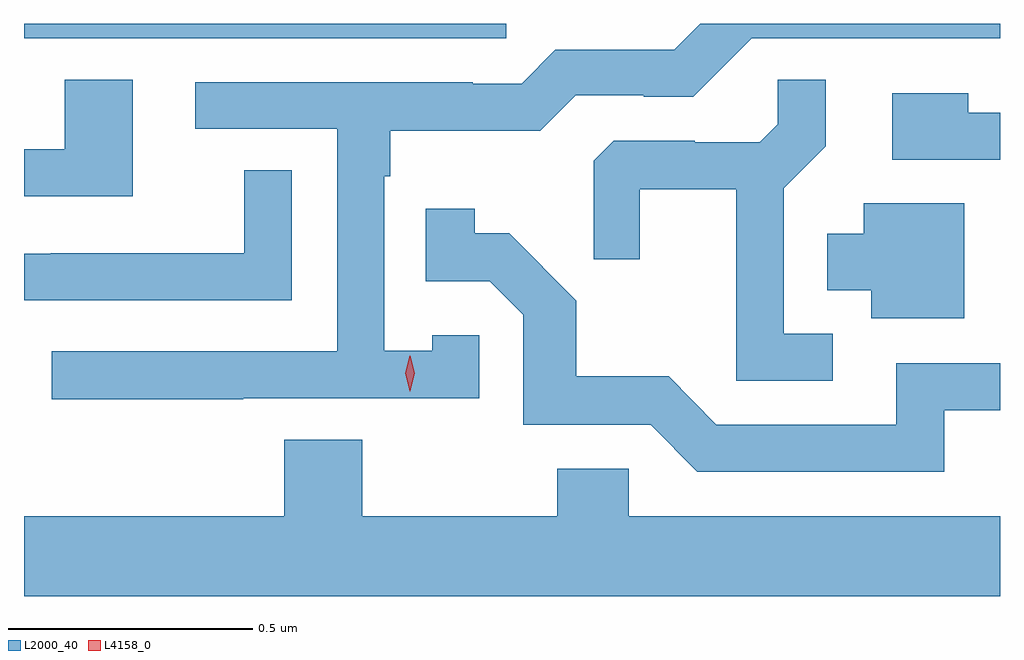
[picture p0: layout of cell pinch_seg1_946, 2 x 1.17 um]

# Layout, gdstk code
import gdstk
lib = gdstk.Library(unit=1e-6, precision=1e-09)
def R(c, l, rs):  # rectangles x0, y0, x1, y1
    for r in rs: c.add(gdstk.rectangle(r[:2], r[2:], *l))
def P(c, l, *ps):  # polygons
    for p in ps: c.add(gdstk.Polygon(p, *l))
L2000_40 = (2000, 40)
L4158_0 = (4158, 0)

pinch_seg1_946 = lib.new_cell('pinch_seg1_946')
R(pinch_seg1_946, L2000_40, [(233.532,519.576,234.52,519.606)])
P(pinch_seg1_946, L2000_40, [(233.981,518.838),(234.465,518.838),(234.465,518.967),(234.369,518.967),(234.369,518.935),(234.27,518.935),(234.27,519.293),(234.283,519.293),(234.283,519.386),(234.59,519.386),(234.663,519.459),(234.802,519.459),(234.802,519.456),(234.903,519.456),(235.023,519.576),(235.532,519.576),(235.532,519.606),(234.918,519.606),(234.864,519.552),(234.621,519.552),(234.552,519.483),(234.452,519.483),(234.452,519.486),(233.883,519.486),(233.883,519.39),(234.174,519.39),(234.174,518.934),(233.589,518.934),(233.589,518.836),(233.981,518.836)],
  [(233.755,519.491),(233.615,519.491),(233.615,519.348),(233.532,519.348),(233.532,519.252),(233.755,519.252)],
  [(235.189,518.97),(235.089,518.97),(235.089,519.269),(235.175,519.355),(235.175,519.491),(235.077,519.491),(235.077,519.4),(235.04,519.363),(234.906,519.363),(234.906,519.366),(234.741,519.366),(234.7,519.325),(234.7,519.123),(234.794,519.123),(234.794,519.266),(234.992,519.266),(234.992,518.874),(235.189,518.874)],
  [(235.532,519.423),(235.467,519.423),(235.467,519.463),(235.311,519.463),(235.311,519.327),(235.532,519.327)],
  [(234.081,519.305),(233.983,519.305),(233.983,519.135),(233.587,519.135),(233.587,519.134),(233.532,519.134),(233.532,519.039),(234.081,519.039)],
  [(235.459,519.238),(235.253,519.238),(235.253,519.175),(235.178,519.175),(235.178,519.059),(235.268,519.059),(235.268,519.002),(235.459,519.002)],
  [(235.418,518.814),(235.532,518.814),(235.532,518.91),(235.319,518.91),(235.319,518.784),(234.951,518.784),(234.853,518.883),(234.664,518.883),(234.664,519.038),(234.526,519.176),(234.456,519.176),(234.456,519.226),(234.355,519.226),(234.355,519.078),(234.486,519.078),(234.555,519.009),(234.555,518.784),(234.816,518.784),(234.912,518.688),(235.418,518.688)],
  [(235.532,518.596),(234.771,518.596),(234.771,518.694),(234.625,518.694),(234.625,518.596),(234.225,518.596),(234.225,518.753),(234.065,518.753),(234.065,518.596),(233.532,518.596),(233.532,518.432),(235.532,518.432)])
P(pinch_seg1_946, L4158_0, [(234.322,518.853),(234.313,518.889),(234.322,518.925),(234.323,518.925),(234.323,518.925),(234.333,518.889),(234.323,518.853),(234.323,518.853)])

lib.write_gds('pinch_seg1_946.gds')
